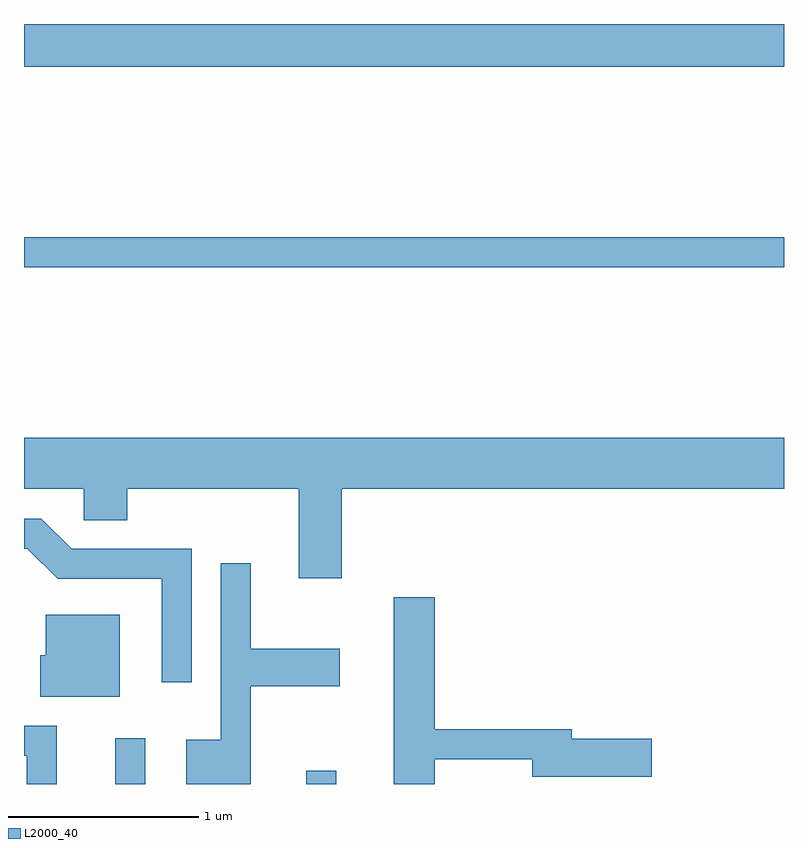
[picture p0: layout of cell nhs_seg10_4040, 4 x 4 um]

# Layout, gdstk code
import gdstk
lib = gdstk.Library(unit=1e-6, precision=1e-09)
def R(c, l, rs):  # rectangles x0, y0, x1, y1
    for r in rs: c.add(gdstk.rectangle(r[:2], r[2:], *l))
def P(c, l, *ps):  # polygons
    for p in ps: c.add(gdstk.Polygon(p, *l))
L2000_40 = (2000, 40)

nhs_seg10_4040 = lib.new_cell('nhs_seg10_4040')
R(nhs_seg10_4040, L2000_40, [(304.091,2174.522,304.249,2174.763), (305.096,2174.522,305.254,2174.593), (303.611,2177.241,307.611,2177.399), (303.611,2178.296,307.611,2178.522)])
P(nhs_seg10_4040, L2000_40, [(305.284,2176.076),(307.611,2176.076),(307.611,2176.344),(303.611,2176.344),(303.611,2176.076),(303.926,2176.076),(303.926,2175.911),(304.154,2175.911),(304.154,2176.076),(305.056,2176.076),(305.056,2175.606),(305.284,2175.606)],
  [(304.494,2175.759),(303.862,2175.759),(303.702,2175.919),(303.611,2175.919),(303.611,2175.761),(303.629,2175.761),(303.789,2175.601),(304.336,2175.601),(304.336,2175.058),(304.494,2175.058)],
  [(304.804,2175.036),(305.274,2175.036),(305.274,2175.234),(304.804,2175.234),(304.804,2175.683),(304.646,2175.683),(304.646,2174.754),(304.466,2174.754),(304.466,2174.522),(304.804,2174.522)],
  [(305.774,2174.651),(306.286,2174.651),(306.286,2174.561),(306.914,2174.561),(306.914,2174.759),(306.494,2174.759),(306.494,2174.809),(305.774,2174.809),(305.774,2175.504),(305.556,2175.504),(305.556,2174.522),(305.774,2174.522)],
  [(304.114,2175.414),(303.726,2175.414),(303.726,2175.199),(303.696,2175.199),(303.696,2174.981),(304.114,2174.981)],
  [(303.784,2174.829),(303.611,2174.829),(303.611,2174.671),(303.626,2174.671),(303.626,2174.522),(303.784,2174.522)])

lib.write_gds('nhs_seg10_4040.gds')
